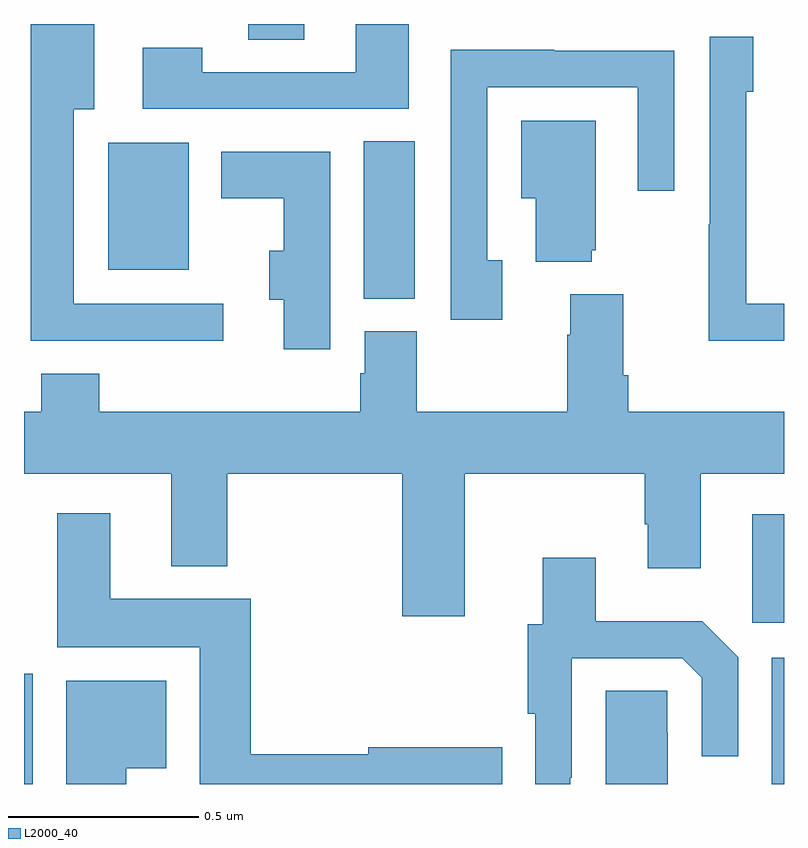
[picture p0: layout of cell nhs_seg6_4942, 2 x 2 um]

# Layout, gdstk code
import gdstk
lib = gdstk.Library(unit=1e-6, precision=1e-09)
def R(c, l, rs):  # rectangles x0, y0, x1, y1
    for r in rs: c.add(gdstk.rectangle(r[:2], r[2:], *l))
def P(c, l, *ps):  # polygons
    for p in ps: c.add(gdstk.Polygon(p, *l))
L2000_40 = (2000, 40)

nhs_seg6_4942 = lib.new_cell('nhs_seg6_4942')
R(nhs_seg6_4942, L2000_40, [(176,966.5,176.023,966.79), (177.968,966.5,178,966.832), (177.917,966.924,178,967.21), (176.894,967.777,177.028,968.192), (176.222,967.853,176.434,968.188), (176.59,968.458,176.737,968.5)])
P(nhs_seg6_4942, L2000_40, [(176.524,967.764),(176.131,967.764),(176.131,968.276),(176.185,968.276),(176.185,968.5),(176.018,968.5),(176.018,967.667),(176.524,967.667)],
  [(177.013,968.5),(176.873,968.5),(176.873,968.373),(176.469,968.373),(176.469,968.437),(176.313,968.437),(176.313,968.277),(177.013,968.277)],
  [(178,967.764),(177.9,967.764),(177.9,968.322),(177.919,968.322),(177.919,968.467),(177.804,968.467),(177.804,967.973),(177.802,967.973),(177.802,967.667),(178,967.667)],
  [(177.259,967.878),(177.219,967.878),(177.219,968.334),(177.615,968.334),(177.615,968.061),(177.711,968.061),(177.711,968.43),(177.395,968.43),(177.395,968.432),(177.123,968.432),(177.123,967.722),(177.259,967.722)],
  [(177.494,967.905),(177.505,967.905),(177.505,968.245),(177.308,968.245),(177.308,968.042),(177.347,968.042),(177.347,967.874),(177.494,967.874)],
  [(176.806,968.164),(176.519,968.164),(176.519,968.042),(176.684,968.042),(176.684,967.903),(176.645,967.903),(176.645,967.774),(176.684,967.774),(176.684,967.644),(176.806,967.644)],
  [(177.16,967.316),(177.634,967.316),(177.634,967.183),(177.641,967.183),(177.641,967.068),(177.781,967.068),(177.781,967.316),(178,967.316),(178,967.48),(177.59,967.48),(177.59,967.576),(177.577,967.576),(177.577,967.789),(177.437,967.789),(177.437,967.682),(177.43,967.682),(177.43,967.48),(177.033,967.48),(177.033,967.692),(176.897,967.692),(176.897,967.581),(176.885,967.581),(176.885,967.48),(176.198,967.48),(176.198,967.579),(176.045,967.579),(176.045,967.48),(176,967.48),(176,967.316),(176.387,967.316),(176.387,967.073),(176.535,967.073),(176.535,967.316),(176.996,967.316),(176.996,966.942),(177.16,966.942)],
  [(177.259,966.597),(176.906,966.597),(176.906,966.578),(176.597,966.578),(176.597,966.988),(176.227,966.988),(176.227,967.213),(176.087,967.213),(176.087,966.86),(176.462,966.86),(176.462,966.5),(177.259,966.5)],
  [(177.438,966.517),(177.441,966.517),(177.441,966.831),(177.732,966.831),(177.783,966.78),(177.783,966.573),(177.879,966.573),(177.879,966.834),(177.785,966.928),(177.505,966.928),(177.505,967.096),(177.365,967.096),(177.365,966.921),(177.325,966.921),(177.325,966.685),(177.345,966.685),(177.345,966.5),(177.438,966.5)],
  [(176.269,966.542),(176.374,966.542),(176.374,966.772),(176.111,966.772),(176.111,966.5),(176.269,966.5)],
  [(177.694,966.635),(177.693,966.635),(177.693,966.746),(177.531,966.746),(177.531,966.5),(177.694,966.5)])

lib.write_gds('nhs_seg6_4942.gds')
